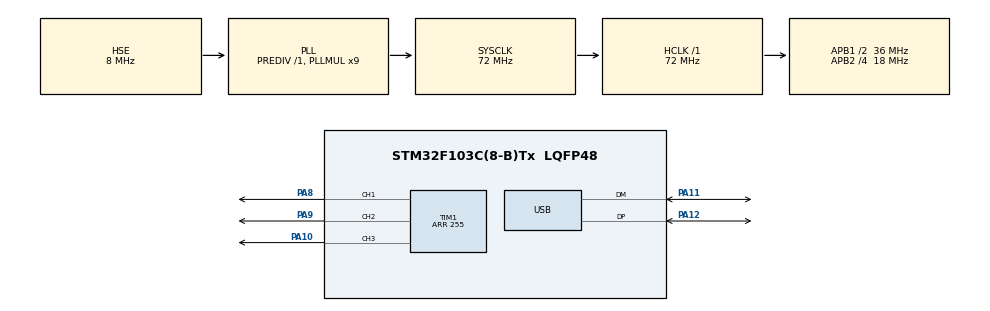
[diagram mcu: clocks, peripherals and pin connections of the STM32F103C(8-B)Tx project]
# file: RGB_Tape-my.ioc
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FREERTOS.Tasks01=defaultTask,0,256,StartDefaultTask,Default,NULL,Dynamic,NULL,NULL
Mcu.Family=STM32F1
Mcu.Name=STM32F103C(8-B)Tx
Mcu.Package=LQFP48
NVIC.PriorityGroup=NVIC_PRIORITYGROUP_4
NVIC.TIM2_IRQn=true\:5\:0\:false\:true\:true\:1\:true\:true
NVIC.USB_LP_CAN1_RX0_IRQn=true\:5\:0\:false\:false\:true\:true\:false
PA10.Signal=S_TIM1_CH3
PA11.Mode=Device
PA11.Signal=USB_DM
PA12.Mode=Device
PA12.Signal=USB_DP
PA13.Mode=Serial_Wire
PA13.Signal=SYS_JTMS-SWDIO
PA14.Mode=Serial_Wire
PA14.Signal=SYS_JTCK-SWCLK
PA8.Signal=S_TIM1_CH1
PA9.Signal=S_TIM1_CH2
PC14-OSC32_IN.Mode=LSE-External-Oscillator
PC14-OSC32_IN.Signal=RCC_OSC32_IN
PC15-OSC32_OUT.Mode=LSE-External-Oscillator
PC15-OSC32_OUT.Signal=RCC_OSC32_OUT
PD0-OSC_IN.Mode=HSE-External-Oscillator
PD0-OSC_IN.Signal=RCC_OSC_IN
PD1-OSC_OUT.Mode=HSE-External-Oscillator
PD1-OSC_OUT.Signal=RCC_OSC_OUT
ProjectManager.HeapSize=0x200
ProjectManager.StackSize=0x400
ProjectManager.TargetToolchain=TrueSTUDIO
RCC.AHBFreq_Value=72000000
RCC.APB1CLKDivider=RCC_HCLK_DIV2
RCC.APB1Freq_Value=36000000
RCC.APB1TimFreq_Value=72000000
RCC.APB2CLKDivider=RCC_HCLK_DIV4
RCC.APB2Freq_Value=18000000
RCC.APB2TimFreq_Value=36000000
RCC.HCLKFreq_Value=72000000
RCC.PLLMUL=RCC_PLL_MUL9
RCC.SYSCLKFreq_VALUE=72000000
RCC.SYSCLKSource=RCC_SYSCLKSOURCE_PLLCLK
RCC.USBFreq_Value=48000000
RCC.USBPrescaler=RCC_USBCLKSOURCE_PLL_DIV1_5
SH.S_TIM1_CH1.0=TIM1_CH1,PWM Generation1 CH1
SH.S_TIM1_CH2.0=TIM1_CH2,PWM Generation2 CH2
SH.S_TIM1_CH3.0=TIM1_CH3,PWM Generation3 CH3
TIM1.Channel-PWM\ Generation1\ CH1=TIM_CHANNEL_1
TIM1.Channel-PWM\ Generation2\ CH2=TIM_CHANNEL_2
TIM1.Channel-PWM\ Generation3\ CH3=TIM_CHANNEL_3
TIM1.ClockDivision=TIM_CLOCKDIVISION_DIV1
TIM1.Period=255
TIM2.AutoReloadPreload=TIM_AUTORELOAD_PRELOAD_DISABLE
TIM2.ClockDivision=TIM_CLOCKDIVISION_DIV1
TIM2.CounterMode=TIM_COUNTERMODE_UP
TIM2.Period=500
TIM2.Prescaler=0
TIM2.TIM_MasterOutputTrigger=TIM_TRGO_RESET
USB_DEVICE.CLASS_NAME_FS=CDC
USB_DEVICE.VirtualMode=Cdc
USB_DEVICE.VirtualModeFS=Cdc_FS
VP_FREERTOS_VS_ENABLE.Mode=Enabled
VP_TIM2_VS_ClockSourceINT.Mode=Internal
VP_USB_DEVICE_VS_USB_DEVICE_CDC_FS.Mode=CDC_FS
board=custom

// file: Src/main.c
/**
  ******************************************************************************
  * @file           : main.c
  * @brief          : Main program body
  ******************************************************************************
  * This notice applies to any and all portions of this file
  * that are not between comment pairs USER CODE BEGIN and
  * USER CODE END. Other portions of this file, whether
  * inserted by the user or by software development tools
  * are owned by their respective copyright owners.
  *
  * Copyright (c) 2019 STMicroelectronics International N.V.
  * All rights reserved.
  *
  * Redistribution and use in source and binary forms, with or without
  * modification, are permitted, provided that the following conditions are met:
  *
  * 1. Redistribution of source code must retain the above copyright notice,
  *    this list of conditions and the following disclaimer.
  * 2. Redistributions in binary form must reproduce the above copyright notice,
  *    this list of conditions and the following disclaimer in the documentation
  *    and/or other materials provided with the distribution.
  * 3. Neither the name of STMicroelectronics nor the names of other
  *    contributors to this software may be used to endorse or promote products
  *    derived from this software without specific written permission.
  * 4. This software, including modifications and/or derivative works of this
  *    software, must execute solely and exclusively on microcontroller or
  *    microprocessor devices manufactured by or for STMicroelectronics.
  * 5. Redistribution and use of this software other than as permitted under
  *    this license is void and will automatically terminate your rights under
  *    this license.
  *
  * THIS SOFTWARE IS PROVIDED BY STMICROELECTRONICS AND CONTRIBUTORS "AS IS"
  * AND ANY EXPRESS, IMPLIED OR STATUTORY WARRANTIES, INCLUDING, BUT NOT
  * LIMITED TO, THE IMPLIED WARRANTIES OF MERCHANTABILITY, FITNESS FOR A
  * PARTICULAR PURPOSE AND NON-INFRINGEMENT OF THIRD PARTY INTELLECTUAL PROPERTY
  * RIGHTS ARE DISCLAIMED TO THE FULLEST EXTENT PERMITTED BY LAW. IN NO EVENT
  * SHALL STMICROELECTRONICS OR CONTRIBUTORS BE LIABLE FOR ANY DIRECT, INDIRECT,
  * INCIDENTAL, SPECIAL, EXEMPLARY, OR CONSEQUENTIAL DAMAGES (INCLUDING, BUT NOT
  * LIMITED TO, PROCUREMENT OF SUBSTITUTE GOODS OR SERVICES; LOSS OF USE, DATA,
  * OR PROFITS; OR BUSINESS INTERRUPTION) HOWEVER CAUSED AND ON ANY THEORY OF
  * LIABILITY, WHETHER IN CONTRACT, STRICT LIABILITY, OR TORT (INCLUDING
  * NEGLIGENCE OR OTHERWISE) ARISING IN ANY WAY OUT OF THE USE OF THIS SOFTWARE,
  * EVEN IF ADVISED OF THE POSSIBILITY OF SUCH DAMAGE.
  *
  ******************************************************************************
  */
#include "main.h"
#include "stm32f1xx_hal.h"
#include "cmsis_os.h"
#include "usb_device.h"

/* USER CODE BEGIN Includes */
#include "eeprom.h"
#include "Utils.h"
/* USER CODE END Includes */

TIM_HandleTypeDef htim1;
TIM_HandleTypeDef htim2;

osThreadId defaultTaskHandle;
osThreadId effectsTaskHandle;

/* USER CODE BEGIN PV */
/* Private variables ---------------------------------------------------------*/
char str_rx[21];
bool flag_hardbit = true;
bool flag_rgb_state = true;
uint8_t conf_channel = ZERO;
uint8_t flag_blynk = ZERO;
uint8_t red_value,green_value,blue_value;

uint8_t i = ZERO;
uint8_t sec = ZERO;
uint8_t gsec = ZERO;
uint8_t flag_usb;

TrafficLight data ;
RGBColor red,green,yellow;
effectConfig effectCONF;

/* USER CODE END PV */

void SystemClock_Config(void);
static void MX_GPIO_Init(void);
static void MX_TIM1_Init(void);
static void MX_TIM2_Init(void);
void StartDefaultTask(void const * argument);
static void MX_NVIC_Init(void);
void HAL_TIM_MspPostInit(TIM_HandleTypeDef *htim);

/* USER CODE BEGIN PFP */
/* Private function prototypes -----------------------------------------------*/
void WriteDefaultsConstantToEEP(void);
void ReadConstantsFromEEP(void);
/* USER CODE END PFP */

/* USER CODE BEGIN 0 */
void ReadEEprom(void) {
	uint32_t data_;
	EE_Read(EEP_CHECK_ADDR,&data_);
	if (data_!= CHECK_DATA) {
		EE_Format();
		WriteDefaultsConstantToEEP();
		EE_Write(EEP_CHECK_ADDR,CHECK_DATA);
		ReadConstantsFromEEP();
	} else {
		ReadConstantsFromEEP();
	}
}

void WriteDefaultsConstantToEEP(void) {
	EE_Write(EEP_red, 0xFF0000); //
	EE_Write(EEP_green, 0x00FF00); //
	EE_Write(EEP_yellow, 0xFFFF00); //
}

void WriteValuesToEEprom() {
	uint32_t data_;
	data_ = red.red << 16 | red.green << 8 | red.blue;
	EE_Write(EEP_red, data_);
	data_ = green.red << 16 | green.green << 8 | green.blue;
	EE_Write(EEP_green, data_);
	data_ = yellow.red << 16 | yellow.green << 8 | yellow.blue;
	EE_Write(EEP_yellow, data_);
}

void ReadConstantsFromEEP(void) {
	uint32_t data_;
	EE_Read(EEP_red, &data_);red.red = (data_ >> 16) & 0xFF;red.green = (data_ >> 8) & 0xFF;red.blue = data_ & 0xFF;
	EE_Read(EEP_green, &data_);green.red = data_ >> 16;green.green = data_ >> 8;green.blue = data_ ;
	EE_Read(EEP_yellow, &data_);yellow.red = data_ >> 16;yellow.green = data_ >> 8;yellow.blue = data_ ;
}

/* USER CODE END 0 */

int main(void) {
  /* USER CODE BEGIN 1 */
    uint32_t i;

  /* USER CODE END 1 */

  /* MCU Configuration----------------------------------------------------------*/

  /* Reset of all peripherals, Initializes the Flash interface and the Systick. */
  HAL_Init();

  /* Configure the system clock */
  SystemClock_Config();

  /* Initialize all configured peripherals */
  MX_GPIO_Init();
  MX_TIM1_Init();
  MX_TIM2_Init();

  /* Initialize interrupts */
  MX_NVIC_Init();
  /* USER CODE BEGIN 2 */
  HAL_TIM_PWM_Start(&htim1, TIM_CHANNEL_1);
  HAL_TIM_PWM_Start(&htim1, TIM_CHANNEL_2);
  HAL_TIM_PWM_Start(&htim1, TIM_CHANNEL_3);

  for(i=0;i<=1536;i++) {
	  if(i<256) RED=i;
      else if ((i>255)&&(i<512)) RED=512-i;
      else if ((i>511)&&(i<768)) GREEN= i-768;
      else if ((i>767)&&(i<1024)) GREEN=1024-i;
      else if ((i>1023)&&(i<1280)) BLUE=i-1280;
      else if ((i>1279)&&(i<1536)) BLUE=1536-i;
  	  HAL_Delay(0);
  }

  ReadEEprom();

  /* USER CODE END 2 */

  /* Create the thread(s) */
  /* definition and creation of defaultTask */
  osThreadDef(defaultTask, StartDefaultTask, osPriorityNormal, 0, 256);
  defaultTaskHandle = osThreadCreate(osThread(defaultTask), NULL);

  /* Start scheduler */
  osKernelStart();

  /* We should never get here as control is now taken by the scheduler */

  /* Infinite loop */
  while (1)
  {

  }

}

void SystemClock_Config(void)
{

  RCC_OscInitTypeDef RCC_OscInitStruct;
  RCC_ClkInitTypeDef RCC_ClkInitStruct;
  RCC_PeriphCLKInitTypeDef PeriphClkInit;

    /**Initializes the CPU, AHB and APB busses clocks
    */
  RCC_OscInitStruct.OscillatorType = RCC_OSCILLATORTYPE_HSE;
  RCC_OscInitStruct.HSEState = RCC_HSE_ON;
  RCC_OscInitStruct.HSEPredivValue = RCC_HSE_PREDIV_DIV1;
  RCC_OscInitStruct.HSIState = RCC_HSI_ON;
  RCC_OscInitStruct.PLL.PLLState = RCC_PLL_ON;
  RCC_OscInitStruct.PLL.PLLSource = RCC_PLLSOURCE_HSE;
  RCC_OscInitStruct.PLL.PLLMUL = RCC_PLL_MUL9;
  if (HAL_RCC_OscConfig(&RCC_OscInitStruct) != HAL_OK)
  {
    _Error_Handler(__FILE__, __LINE__);
  }

    /**Initializes the CPU, AHB and APB busses clocks
    */
  RCC_ClkInitStruct.ClockType = RCC_CLOCKTYPE_HCLK|RCC_CLOCKTYPE_SYSCLK
                              |RCC_CLOCKTYPE_PCLK1|RCC_CLOCKTYPE_PCLK2;
  RCC_ClkInitStruct.SYSCLKSource = RCC_SYSCLKSOURCE_PLLCLK;
  RCC_ClkInitStruct.AHBCLKDivider = RCC_SYSCLK_DIV1;
  RCC_ClkInitStruct.APB1CLKDivider = RCC_HCLK_DIV2;
  RCC_ClkInitStruct.APB2CLKDivider = RCC_HCLK_DIV4;

  if (HAL_RCC_ClockConfig(&RCC_ClkInitStruct, FLASH_LATENCY_2) != HAL_OK)
  {
    _Error_Handler(__FILE__, __LINE__);
  }

  PeriphClkInit.PeriphClockSelection = RCC_PERIPHCLK_USB;
  PeriphClkInit.UsbClockSelection = RCC_USBCLKSOURCE_PLL_DIV1_5;
  if (HAL_RCCEx_PeriphCLKConfig(&PeriphClkInit) != HAL_OK)
  {
    _Error_Handler(__FILE__, __LINE__);
  }

    /**Configure the Systick interrupt time
    */
  HAL_SYSTICK_Config(HAL_RCC_GetHCLKFreq()/1000);

    /**Configure the Systick
    */
  HAL_SYSTICK_CLKSourceConfig(SYSTICK_CLKSOURCE_HCLK);

  /* SysTick_IRQn interrupt configuration */
  HAL_NVIC_SetPriority(SysTick_IRQn, 15, 0);
}

/**
  * @brief NVIC Configuration.
  * @retval None
  */
static void MX_NVIC_Init(void)
{
  /* TIM2_IRQn interrupt configuration */
  HAL_NVIC_SetPriority(TIM2_IRQn, 5, 0);
  HAL_NVIC_EnableIRQ(TIM2_IRQn);
}

/* TIM1 init function */
static void MX_TIM1_Init(void)
{

  TIM_MasterConfigTypeDef sMasterConfig;
  TIM_OC_InitTypeDef sConfigOC;
  TIM_BreakDeadTimeConfigTypeDef sBreakDeadTimeConfig;

  htim1.Instance = TIM1;
  htim1.Init.Prescaler = 0;
  htim1.Init.CounterMode = TIM_COUNTERMODE_UP;
  htim1.Init.Period = 255;
  htim1.Init.ClockDivision = TIM_CLOCKDIVISION_DIV1;
  htim1.Init.RepetitionCounter = 0;
  htim1.Init.AutoReloadPreload = TIM_AUTORELOAD_PRELOAD_DISABLE;
  if (HAL_TIM_PWM_Init(&htim1) != HAL_OK)
  {
    _Error_Handler(__FILE__, __LINE__);
  }

  sMasterConfig.MasterOutputTrigger = TIM_TRGO_RESET;
  sMasterConfig.MasterSlaveMode = TIM_MASTERSLAVEMODE_DISABLE;
  if (HAL_TIMEx_MasterConfigSynchronization(&htim1, &sMasterConfig) != HAL_OK)
  {
    _Error_Handler(__FILE__, __LINE__);
  }

  sConfigOC.OCMode = TIM_OCMODE_PWM1;
  sConfigOC.Pulse = 0;
  sConfigOC.OCPolarity = TIM_OCPOLARITY_HIGH;
  sConfigOC.OCNPolarity = TIM_OCNPOLARITY_HIGH;
  sConfigOC.OCFastMode = TIM_OCFAST_DISABLE;
  sConfigOC.OCIdleState = TIM_OCIDLESTATE_RESET;
  sConfigOC.OCNIdleState = TIM_OCNIDLESTATE_RESET;
  if (HAL_TIM_PWM_ConfigChannel(&htim1, &sConfigOC, TIM_CHANNEL_1) != HAL_OK)
  {
    _Error_Handler(__FILE__, __LINE__);
  }

  if (HAL_TIM_PWM_ConfigChannel(&htim1, &sConfigOC, TIM_CHANNEL_2) != HAL_OK)
  {
    _Error_Handler(__FILE__, __LINE__);
  }

  if (HAL_TIM_PWM_ConfigChannel(&htim1, &sConfigOC, TIM_CHANNEL_3) != HAL_OK)
  {
    _Error_Handler(__FILE__, __LINE__);
  }

  sBreakDeadTimeConfig.OffStateRunMode = TIM_OSSR_DISABLE;
  sBreakDeadTimeConfig.OffStateIDLEMode = TIM_OSSI_DISABLE;
  sBreakDeadTimeConfig.LockLevel = TIM_LOCKLEVEL_OFF;
  sBreakDeadTimeConfig.DeadTime = 0;
  sBreakDeadTimeConfig.BreakState = TIM_BREAK_DISABLE;
  sBreakDeadTimeConfig.BreakPolarity = TIM_BREAKPOLARITY_HIGH;
  sBreakDeadTimeConfig.AutomaticOutput = TIM_AUTOMATICOUTPUT_DISABLE;
  if (HAL_TIMEx_ConfigBreakDeadTime(&htim1, &sBreakDeadTimeConfig) != HAL_OK)
  {
    _Error_Handler(__FILE__, __LINE__);
  }

  HAL_TIM_MspPostInit(&htim1);

}

/* TIM2 init function */
static void MX_TIM2_Init(void)
{

  TIM_ClockConfigTypeDef sClockSourceConfig;
  TIM_MasterConfigTypeDef sMasterConfig;

  htim2.Instance = TIM2;
  htim2.Init.Prescaler = 0;
  htim2.Init.CounterMode = TIM_COUNTERMODE_UP;
  htim2.Init.Period = 500;
  htim2.Init.ClockDivision = TIM_CLOCKDIVISION_DIV1;
  htim2.Init.AutoReloadPreload = TIM_AUTORELOAD_PRELOAD_DISABLE;
  if (HAL_TIM_Base_Init(&htim2) != HAL_OK)
  {
    _Error_Handler(__FILE__, __LINE__);
  }

  sClockSourceConfig.ClockSource = TIM_CLOCKSOURCE_INTERNAL;
  if (HAL_TIM_ConfigClockSource(&htim2, &sClockSourceConfig) != HAL_OK)
  {
    _Error_Handler(__FILE__, __LINE__);
  }

  sMasterConfig.MasterOutputTrigger = TIM_TRGO_RESET;
  sMasterConfig.MasterSlaveMode = TIM_MASTERSLAVEMODE_DISABLE;
  if (HAL_TIMEx_MasterConfigSynchronization(&htim2, &sMasterConfig) != HAL_OK)
  {
    _Error_Handler(__FILE__, __LINE__);
  }

}

/** Configure pins as
        * Analog
        * Input
        * Output
        * EVENT_OUT
        * EXTI
*/
static void MX_GPIO_Init(void)
{

  /* GPIO Ports Clock Enable */
  __HAL_RCC_GPIOC_CLK_ENABLE();
  __HAL_RCC_GPIOD_CLK_ENABLE();
  __HAL_RCC_GPIOA_CLK_ENABLE();

}

/* USER CODE BEGIN 4 */
/**
  * @brief  Period elapsed callback in non blocking mode
  * @param  htim: TIM handle
  * @retval None
  */
void HAL_TIM_PeriodElapsedCallback(TIM_HandleTypeDef *htim) {
	if (htim->Instance == htim2.Instance) {
		sec++;
        if (sec>data.freq-1) {
        	sec=0;
        	switch (data.channel) {
        	case 0: { if (RED == ZERO) RED = 255; else RED = ZERO; } break;
  	  	  	case 1: { if (BLUE == ZERO) BLUE = 255; else BLUE = ZERO; } break;
  	  	  	case 2: { if (GREEN == ZERO) GREEN = 255; else GREEN = ZERO; } break;
        	}
  	  //dhcp_n6sec_tick();
        }
	}
}

void ChangeColors(effectConfig effect_config) {
	while ((effect_config.use_channel_red || effect_config.use_channel_green || effect_config.use_channel_blue )
			& (flag_usb > ZERO)) {
		if (effect_config.use_channel_red) {
			  if (RED < effect_config.red_value) RED = RED + 1;
			  else {
			  	  if (RED > effect_config.red_value) RED = RED - 1;
			  	  else effect_config.use_channel_red = false;
			  }
		}
		if (effect_config.use_channel_green) {
			  if (GREEN < effect_config.green_value) GREEN = GREEN + 1;
			  else {
				  if (GREEN > effect_config.green_value) GREEN = GREEN - 1;
				  else effect_config.use_channel_green = false;
			  }
		}
		if (effect_config.use_channel_blue) {
			  if (BLUE < effect_config.blue_value) BLUE = BLUE + 1;
			  else {
				  if (BLUE > effect_config.blue_value) BLUE = BLUE - 1;
				  else effect_config.use_channel_blue = false;
			  }
		}
		osDelay(effect_config.delay_pwm); // 255-data.freq)*4
	}
}

void StartEffectsTask(void const * argument)
{
	for(;;) {
		if (effectCONF.dirty) {
			effectConfig effect_config;
			switch (effectCONF.effectID) {

			case CHANGE_CHANNELS_COLOR_TO:
				ChangeColors(effectCONF);
				effectCONF.dirty = false;
				break;

			case CHANGE_CHANNELS_COLOR_TO_AND_BACK:
				effect_config = effectCONF;

				effect_config.red_value = RED;
				effect_config.green_value = GREEN;
				effect_config.blue_value = BLUE;

				ChangeColors(effectCONF);
				osDelay(effectCONF.delay_change * 40); // 255-data.freq)*4
				ChangeColors(effect_config);
				effectCONF.dirty = false;
				break;
			}
			  //effectCONF.dirty = false;
		  }
		osDelay(1);
	}
}
/* USER CODE END 4 */

void StartDefaultTask(void const * argument)
{
  /* init code for USB_DEVICE */
  MX_USB_DEVICE_Init();

  /* USER CODE BEGIN 5 */
  char str[50];
  /* Infinite loop */

  osThreadDef(effectsTask, StartEffectsTask, osPriorityNormal, 0, 256);
  effectsTaskHandle = osThreadCreate(osThread(effectsTask), NULL);

  for(;;) {
	  if (flag_usb == SAVE_CFG) {
		  snprintf(str,strlen(str),"SAVE_CFG - success !\n\r");
		  CDC_Transmit_FS(str, 25);

		  WriteValuesToEEprom();
		  flag_usb = 0;
	  }

	  if (flag_usb == CHANNEL_TUNNING) {
		  switch (conf_channel) {
		  	  case 0:
		  		  red.red = red_value;
		  		  red.green = green_value;
		  		  red.blue = blue_value;
		  		  break;
		  	  case 1:
		  		  yellow.red = red_value;
		  		  yellow.green = green_value;
		  		  yellow.blue = blue_value;
		  		  break;
		  	  case 2:
		  		  green.red = red_value;
		  		  green.green = green_value;
		  		  green.blue = blue_value;
		  		  break;
		  }
		  data.dirty = true;
		  flag_usb = 0;
	  }

	  if (data.mode == NORMAL_MODE) {
		  if (data.dirty) {
			  TIM1->CCR3 = 0;
			  TIM1->CCR2 = 0;
			  TIM1->CCR1 = 0;
			  data.dirty = false;
			  switch (data.channel) {
	  	  	  	  case 0:
	  	  	  		  RED = red.red;
	  	  	  		  GREEN = red.green;
	  	  	  		  BLUE = red.blue;
	  	  	  	  break;
	  	  	  	  case 1:
	  	  	  		  RED = yellow.red;
	  	  	  		  GREEN = yellow.green;
	  	  	  		  BLUE = yellow.blue;
	  	  	  	  break;
	  	  	  	  case 2:
	  	  	  		  RED = green.red;
	  	  	  		  GREEN = green.green;
	  	  	  		  BLUE = green.blue;
	  	  	  	  break;
			  }
		  }
	  } else
		  if ((data.mode == BLINK_MODE)) { // & (data.dirty) ) // if Mode 2 (Blink light)
			  if (data.dirty) {
				  TIM1->CCR3 = 0;
				  TIM1->CCR2 = 0;
				  TIM1->CCR1 = 0;
				  data.dirty = false;
			  }

			  flag_blynk =  1 - flag_blynk ;
			  switch (data.channel) {
  	  	  	  	  case 0:
  	  	  	  		  RED = red.red * flag_blynk;
  	  	  	  		  GREEN = red.green * flag_blynk;
  	  	  	  		  BLUE = red.blue * flag_blynk;
  	  	  	  		  break;
  	  	  	  	  case 1:
  	  	  	  		  RED = yellow.red * flag_blynk;
  	  	  	  		  GREEN = yellow.green * flag_blynk;
  	  	  	  		  BLUE = yellow.blue * flag_blynk;
  	  	  	  		  break;
  	  	  	  	  case 2:
  	  	  	  		  RED = green.red * flag_blynk;
  	  	  	  		  GREEN = green.green * flag_blynk;
  	  	  	  		  BLUE = green.blue * flag_blynk;
  	  	  	  		  break;
			  }

			  HAL_Delay((255-data.freq)*4);
		  } else {
//		  TIM1->CCR3 = 0;
//		  TIM1->CCR2 = 0;
//		  TIM1->CCR1 = 0;
		  }
	  if (flag_hardbit) {
		  snprintf(str,sizeof(str),"%01u.%01u.%03u\n\r",(data.channel),(data.mode),(data.freq));
		  CDC_Transmit_FS(str, 15);
		  flag_hardbit = false;
	  }

	  if (flag_rgb_state ) {
		  switch (conf_channel) {
		  	  case 0:
		  		  red_value = red.red;
		  		  green_value = red.green;
		  		  blue_value = red.blue;
		  		  break;
		  	  case 1:
		  		  red_value = yellow.red;
		  		  green_value = yellow.green;
		  		  blue_value = yellow.blue;
		  		  break;
		  	  case 2:
		  		  red_value = green.red;
		  		  green_value = green.green;
		  		  blue_value = green.blue;
		  		  break;
		  }
		  flag_rgb_state = 0;
		  snprintf(str,sizeof(str),"CH%01u:%02X%02X%02X\n\r",conf_channel,red_value,green_value,blue_value);
		  CDC_Transmit_FS(str, 15);
	  }
	  osDelay(1);
  }
  /* USER CODE END 5 */
}

void _Error_Handler(char *file, int line)
{
  while(1)
  {
  }
}

/************************ (C) COPYRIGHT STMicroelectronics *****END OF FILE****/
